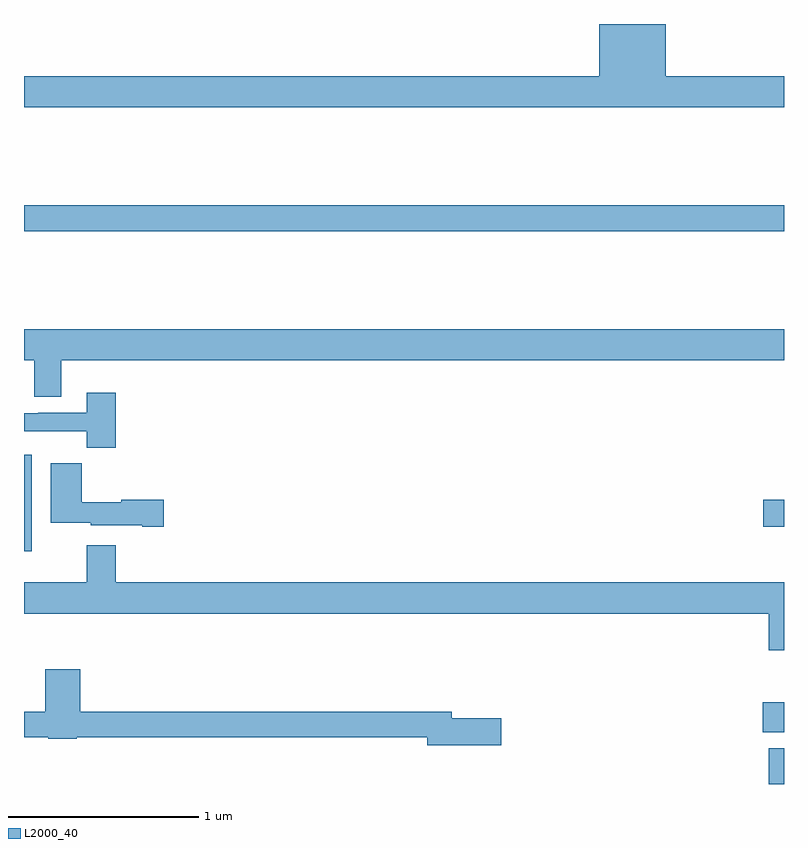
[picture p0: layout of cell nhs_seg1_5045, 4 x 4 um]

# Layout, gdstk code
import gdstk
lib = gdstk.Library(unit=1e-6, precision=1e-09)
def R(c, l, rs):  # rectangles x0, y0, x1, y1
    for r in rs: c.add(gdstk.rectangle(r[:2], r[2:], *l))
def P(c, l, *ps):  # polygons
    for p in ps: c.add(gdstk.Polygon(p, *l))
L2000_40 = (2000, 40)

nhs_seg1_5045 = lib.new_cell('nhs_seg1_5045')
R(nhs_seg1_5045, L2000_40, [(388.919,520.199,389,520.387), (388.887,520.472,389,520.63), (385,521.424,385.042,521.932), (388.89,521.554,389,521.696), (385,523.108,389,523.244)])
P(nhs_seg1_5045, L2000_40, [(389,523.924),(388.378,523.924),(388.378,524.199),(388.028,524.199),(388.028,523.924),(385,523.924),(385,523.76),(389,523.76)],
  [(385.195,522.428),(389,522.428),(389,522.592),(385,522.592),(385,522.428),(385.055,522.428),(385.055,522.238),(385.195,522.238)],
  [(385.484,522.259),(385.331,522.259),(385.331,522.153),(385.075,522.153),(385.075,522.15),(385,522.15),(385,522.056),(385.329,522.056),(385.329,521.969),(385.484,521.969)],
  [(385.735,521.696),(385.512,521.696),(385.512,521.683),(385.304,521.683),(385.304,521.887),(385.142,521.887),(385.142,521.573),(385.35,521.573),(385.35,521.561),(385.622,521.561),(385.622,521.554),(385.735,521.554)],
  [(389,521.26),(385.484,521.26),(385.484,521.455),(385.331,521.455),(385.331,521.26),(385,521.26),(385,521.096),(388.919,521.096),(388.919,520.902),(389,520.902)],
  [(387.511,520.544),(387.25,520.544),(387.25,520.58),(385.295,520.58),(385.295,520.804),(385.112,520.804),(385.112,520.58),(385,520.58),(385,520.444),(385.128,520.444),(385.128,520.436),(385.278,520.436),(385.278,520.444),(387.122,520.444),(387.122,520.402),(387.511,520.402)])

lib.write_gds('nhs_seg1_5045.gds')
